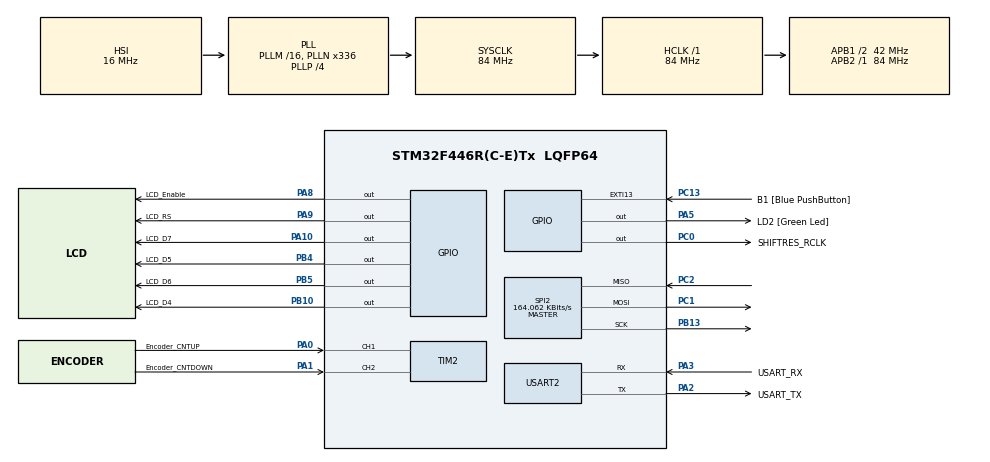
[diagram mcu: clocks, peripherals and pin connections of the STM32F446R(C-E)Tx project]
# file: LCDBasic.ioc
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Mcu.Family=STM32F4
Mcu.Name=STM32F446R(C-E)Tx
Mcu.Package=LQFP64
NVIC.PriorityGroup=NVIC_PRIORITYGROUP_0
NVIC.TIM2_IRQn=true\:0\:0\:false\:false\:true\:true\:true\:true
PA0-WKUP.GPIO_Label=Encoder_CNTUP
PA0-WKUP.Signal=S_TIM2_CH1_ETR
PA1.GPIO_Label=Encoder_CNTDOWN
PA1.Signal=S_TIM2_CH2
PA10.GPIO_Label=LCD_D7
PA10.Signal=GPIO_Output
PA13.GPIO_Label=TMS
PA13.Mode=Serial_Wire
PA13.Signal=SYS_JTMS-SWDIO
PA14.GPIO_Label=TCK
PA14.Mode=Serial_Wire
PA14.Signal=SYS_JTCK-SWCLK
PA2.GPIO_Label=USART_TX
PA2.Mode=Asynchronous
PA2.Signal=USART2_TX
PA3.GPIO_Label=USART_RX
PA3.Mode=Asynchronous
PA3.Signal=USART2_RX
PA5.GPIO_Label=LD2 [Green Led]
PA5.Signal=GPIO_Output
PA8.GPIO_Label=LCD_Enable
PA8.Signal=GPIO_Output
PA9.GPIO_Label=LCD_RS
PA9.Signal=GPIO_Output
PB10.GPIO_Label=LCD_D4
PB10.Signal=GPIO_Output
PB13.Mode=Full_Duplex_Master
PB13.Signal=SPI2_SCK
PB3.GPIO_Label=SWO
PB3.Signal=SYS_JTDO-SWO
PB4.GPIO_Label=LCD_D5
PB4.Signal=GPIO_Output
PB5.GPIO_Label=LCD_D6
PB5.Signal=GPIO_Output
PC0.GPIO_Label=SHIFTRES_RCLK
PC0.Signal=GPIO_Output
PC1.Mode=Full_Duplex_Master
PC1.Signal=SPI2_MOSI
PC13.GPIO_Label=B1 [Blue PushButton]
PC13.GPIO_ModeDefaultEXTI=GPIO_MODE_IT_FALLING
PC13.Signal=GPXTI13
PC14-OSC32_IN.Mode=LSE-External-Oscillator
PC14-OSC32_IN.Signal=RCC_OSC32_IN
PC15-OSC32_OUT.Mode=LSE-External-Oscillator
PC15-OSC32_OUT.Signal=RCC_OSC32_OUT
PC2.Mode=Full_Duplex_Master
PC2.Signal=SPI2_MISO
PH0-OSC_IN.Mode=HSE-External-Oscillator
PH0-OSC_IN.Signal=RCC_OSC_IN
PH1-OSC_OUT.Mode=HSE-External-Oscillator
PH1-OSC_OUT.Signal=RCC_OSC_OUT
ProjectManager.HeapSize=0x200
ProjectManager.StackSize=0x400
ProjectManager.TargetToolchain=CMake
RCC.48MHZClocksFreq_Value=84000000
RCC.AHBFreq_Value=84000000
RCC.APB1CLKDivider=RCC_HCLK_DIV2
RCC.APB1Freq_Value=42000000
RCC.APB1TimFreq_Value=84000000
RCC.APB2Freq_Value=84000000
RCC.APB2TimFreq_Value=84000000
RCC.CortexFreq_Value=84000000
RCC.FLatency-AdvancedSettings=FLASH_LATENCY_2
RCC.HCLKFreq_Value=84000000
RCC.HSE_VALUE=8000000
RCC.HSI_VALUE=16000000
RCC.PLLN=336
RCC.PLLP=RCC_PLLP_DIV4
RCC.SYSCLKFreq_VALUE=84000000
RCC.SYSCLKSource=RCC_SYSCLKSOURCE_PLLCLK
RCC.USBFreq_Value=168000000
RCC.VCOOutputFreq_Value=336000000
SH.S_TIM2_CH1_ETR.0=TIM2_CH1,Encoder_Interface
SH.S_TIM2_CH2.0=TIM2_CH2,Encoder_Interface
SPI2.BaudRatePrescaler=SPI_BAUDRATEPRESCALER_256
SPI2.CalculateBaudRate=164.062 KBits/s
SPI2.Direction=SPI_DIRECTION_2LINES
SPI2.Mode=SPI_MODE_MASTER
SPI2.VirtualType=VM_MASTER
USART2.VirtualMode=VM_ASYNC
board=NUCLEO-F446RE

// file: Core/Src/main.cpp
/* USER CODE BEGIN Header */
/**
 ******************************************************************************
 * @file           : main.cpp
 * @brief          : Main program body
 ******************************************************************************
 */
/* USER CODE END Header */
#include "main.h"
#include "gpio.h"
#include "spi.h"
#include "tim.h"
#include "usart.h"
#include "lcd1602.h"

#include <string>

/* USER CODE BEGIN PV */
uint16_t EncoderVal;

/* USER CODE END PV */

void SystemClock_Config(void);
/* USER CODE BEGIN PFP */
void shift595_write(uint8_t value);
void shift595_drive_led(uint8_t anode_bit, uint8_t cathode_bit, bool on);

/* USER CODE END PFP */

/* USER CODE BEGIN 0 */
void shift595_write(uint8_t value)
{
    HAL_GPIO_WritePin(SHIFTRES_RCLK_GPIO_Port, SHIFTRES_RCLK_Pin, GPIO_PIN_RESET);
    HAL_SPI_Transmit(&hspi2, &value, 1, HAL_MAX_DELAY);
    HAL_GPIO_WritePin(SHIFTRES_RCLK_GPIO_Port, SHIFTRES_RCLK_Pin, GPIO_PIN_SET);
    HAL_GPIO_WritePin(SHIFTRES_RCLK_GPIO_Port, SHIFTRES_RCLK_Pin, GPIO_PIN_RESET);
}

void shift595_drive_led(uint8_t anode_bit, uint8_t cathode_bit, bool on)
{
    constexpr uint8_t ANODE_MASK = 0x0FU;   // QA..QD
    constexpr uint8_t CATHODE_MASK = 0xF0U; // QE..QH

    if (!on)
    {
        // All anodes low, all cathodes high -> all LEDs off
        shift595_write(CATHODE_MASK);
        return;
    }

    if (anode_bit > 3U || cathode_bit < 4U || cathode_bit > 7U)
    {
        shift595_write(CATHODE_MASK);
        return;
    }

    // Start from OFF state: cathodes high, anodes low
    uint8_t pattern = CATHODE_MASK;

    // Set selected anode high
    pattern = static_cast<uint8_t>((pattern & static_cast<uint8_t>(~ANODE_MASK)) | static_cast<uint8_t>(1U << anode_bit));

    // Set selected cathode low
    pattern = static_cast<uint8_t>(pattern & static_cast<uint8_t>(~(1U << cathode_bit)));

    shift595_write(pattern);
}

/* USER CODE END 0 */

int main(void)
{

    /* MCU Configuration--------------------------------------------------------*/

    /* Reset of all peripherals, Initializes the Flash interface and the Systick. */
    HAL_Init();

    /* Configure the system clock */
    SystemClock_Config();

    /* Initialize all configured peripherals */
    MX_GPIO_Init();
    MX_SPI2_Init();
    MX_USART2_UART_Init();
    MX_TIM2_Init();
    /* USER CODE BEGIN 2 */
    Lcd1602 lcd;
    lcd.init();
    lcd.setCursor(0, 0);
    lcd.print("Hello world!");
    HAL_TIM_Encoder_Start_IT(&htim2, TIM_CHANNEL_ALL);

    /* USER CODE END 2 */

    /* Infinite loop */
    while (1)
    {

        /* USER CODE BEGIN 3 */
        EncoderVal=__HAL_TIM_GET_COUNTER(&htim2);
        lcd.setCursor(0, 0);
        lcd.print("Encoder : " + std::to_string(EncoderVal));

        shift595_drive_led(0U, 4U, true);  // QA high, QE low
        HAL_Delay(500);
        shift595_drive_led(0U, 4U, false);
        HAL_Delay(500);
    }
    /* USER CODE END 3 */
}

void SystemClock_Config(void)
{
    RCC_OscInitTypeDef RCC_OscInitStruct = {0};
    RCC_ClkInitTypeDef RCC_ClkInitStruct = {0};

    /** Configure the main internal regulator output voltage
     */
    __HAL_RCC_PWR_CLK_ENABLE();
    __HAL_PWR_VOLTAGESCALING_CONFIG(PWR_REGULATOR_VOLTAGE_SCALE3);

    /** Initializes the RCC Oscillators according to the specified parameters
     * in the RCC_OscInitTypeDef structure.
     */
    RCC_OscInitStruct.OscillatorType = RCC_OSCILLATORTYPE_HSI;
    RCC_OscInitStruct.HSIState = RCC_HSI_ON;
    RCC_OscInitStruct.HSICalibrationValue = RCC_HSICALIBRATION_DEFAULT;
    RCC_OscInitStruct.PLL.PLLState = RCC_PLL_ON;
    RCC_OscInitStruct.PLL.PLLSource = RCC_PLLSOURCE_HSI;
    RCC_OscInitStruct.PLL.PLLM = 16;
    RCC_OscInitStruct.PLL.PLLN = 336;
    RCC_OscInitStruct.PLL.PLLP = RCC_PLLP_DIV4;
    RCC_OscInitStruct.PLL.PLLQ = 2;
    RCC_OscInitStruct.PLL.PLLR = 2;
    if (HAL_RCC_OscConfig(&RCC_OscInitStruct) != HAL_OK)
    {
        Error_Handler();
    }

    /** Initializes the CPU, AHB and APB buses clocks
     */
    RCC_ClkInitStruct.ClockType = RCC_CLOCKTYPE_HCLK | RCC_CLOCKTYPE_SYSCLK | RCC_CLOCKTYPE_PCLK1 | RCC_CLOCKTYPE_PCLK2;
    RCC_ClkInitStruct.SYSCLKSource = RCC_SYSCLKSOURCE_PLLCLK;
    RCC_ClkInitStruct.AHBCLKDivider = RCC_SYSCLK_DIV1;
    RCC_ClkInitStruct.APB1CLKDivider = RCC_HCLK_DIV2;
    RCC_ClkInitStruct.APB2CLKDivider = RCC_HCLK_DIV1;

    if (HAL_RCC_ClockConfig(&RCC_ClkInitStruct, FLASH_LATENCY_2) != HAL_OK)
    {
        Error_Handler();
    }
}

extern "C" void Error_Handler(void)
{
    __disable_irq();
    while (1)
    {
    }
}
#ifdef USE_FULL_ASSERT
/**
 * @brief  Reports the name of the source file and the source line number
 *         where the assert_param error has occurred.
 * @param  file: pointer to the source file name
 * @param  line: assert_param error line source number
 * @retval None
 */
extern "C" void assert_failed(uint8_t *file, uint32_t line)
{
    /* USER CODE BEGIN 6 */
    (void)file;
    (void)line;
    /* USER CODE END 6 */
}
#endif /* USE_FULL_ASSERT */
